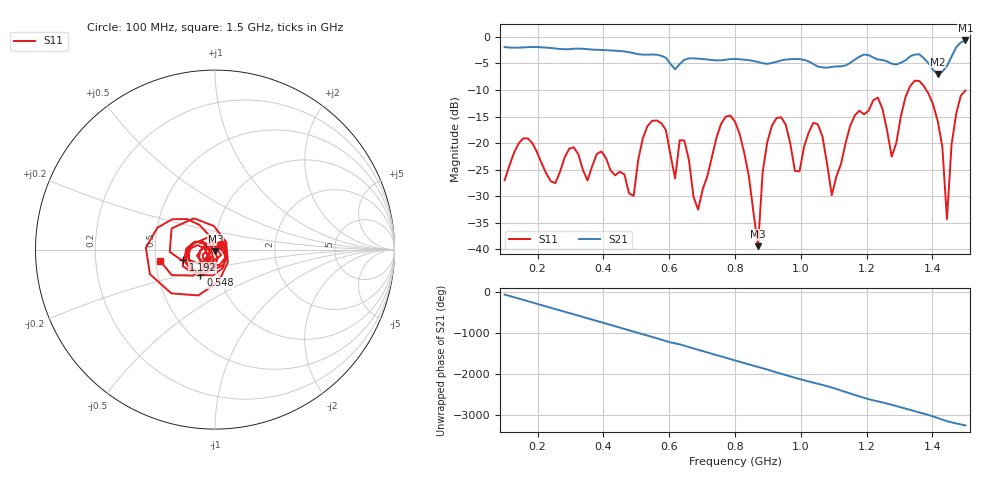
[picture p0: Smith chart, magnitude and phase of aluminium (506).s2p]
! NanoVNA-App
! Date: 2025-09-25 14:59:13
! Start: 100MHz Stop: 1,5GHz Points: 101
! S-Parameter data: F S11 S21 S12 S22
# Hz S RI R 50
!  Frequency  S11_Real  S11_Imag  S21_Real  S21_Imag  S12_Real  S12_Imag  S22_Real  S22_Imag
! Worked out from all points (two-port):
!   101 points, 100 MHz to 1.5 GHz, reference 50 ohm
!   highest |S21| = -0.66 dB at 1.5 GHz (marker M1); lowest = -7.0 dB at 1.416 GHz (marker M2)
!   |S21| within 3 dB of the highest: start of sweep to 580.4 MHz; 1.332 GHz to 1.367 GHz (35.63 MHz wide, 2.64 % of centre) (the widest 2 of 4)
!   lowest |S11| = -39.4 dB at 870 MHz (marker M3), VSWR 1.02, Z = 50.2 - j1.06 ohm
!   |S11| at or under -10 dB: start of sweep to 1.327 GHz; 1.381 GHz to end of sweep
!   S12 and S22 are empty: the file has one direction only
!   S11 on the Smith chart (normalised r, x): 100 MHz: 1.07, +0.06; 548 MHz: 0.82, -0.24; 1.192 GHz: 0.69, -0.08; 1.5 GHz: 0.53, -0.07
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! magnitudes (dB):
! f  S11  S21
! 100 MHz  -27.0  -1.9
! 156 MHz  -19.1  -2.0
! 338 MHz  -25.0  -2.2
! 492 MHz  -29.9  -3.1
! 548 MHz  -15.8  -3.3
! 576 MHz  -16.2  -3.5
! 646 MHz  -19.5  -4.3
! 688 MHz  -32.5  -4.1
! 800 MHz  -16.0  -4.1
! 870 MHz  -39.4  -4.7
! 912 MHz  -16.7  -4.9
! 996 MHz  -25.3  -4.2
! 1.038 GHz  -16.2  -5.1
! 1.094 GHz  -29.8  -5.6
! 1.192 GHz  -14.6  -3.3
! 1.234 GHz  -11.4  -4.2
! 1.276 GHz  -22.5  -5.0
! 1.346 GHz  -8.2  -3.3
! 1.416 GHz  -15.8  -7.0
! 1.444 GHz  -34.3  -5.5
! 1.458 GHz  -20.2  -3.7
! 1.5 GHz  -10.1  -0.7
